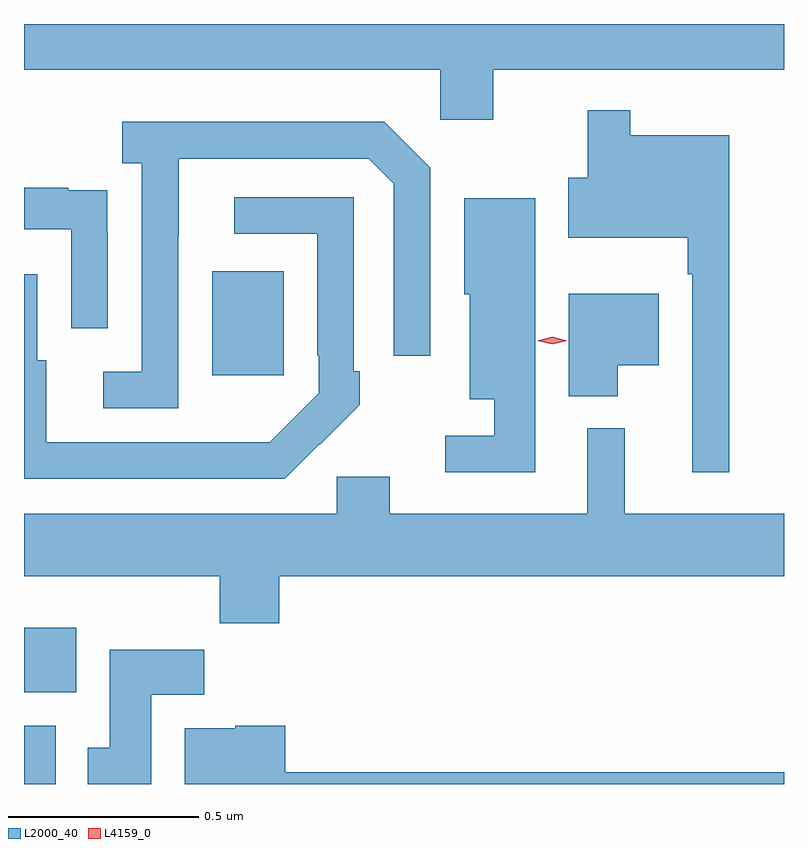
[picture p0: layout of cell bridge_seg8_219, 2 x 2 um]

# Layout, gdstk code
import gdstk
lib = gdstk.Library(unit=1e-6, precision=1e-09)
def R(c, l, rs):  # rectangles x0, y0, x1, y1
    for r in rs: c.add(gdstk.rectangle(r[:2], r[2:], *l))
def P(c, l, *ps):  # polygons
    for p in ps: c.add(gdstk.Polygon(p, *l))
L2000_40 = (2000, 40)
L4159_0 = (4159, 0)

bridge_seg8_219 = lib.new_cell('bridge_seg8_219')
R(bridge_seg8_219, L2000_40, [(138.836,1111.957,138.919,1112.11), (138.836,1112.198,138.973,1112.368), (139.331,1113.033,139.519,1113.307)])
P(bridge_seg8_219, L2000_40, [(140.071,1113.836),(140.836,1113.836),(140.836,1113.957),(138.836,1113.957),(138.836,1113.836),(139.932,1113.836),(139.932,1113.705),(140.071,1113.705)],
  [(140.692,1113.664),(140.431,1113.664),(140.431,1113.73),(140.32,1113.73),(140.32,1113.553),(140.268,1113.553),(140.268,1113.395),(140.583,1113.395),(140.583,1113.299),(140.595,1113.299),(140.595,1112.778),(140.692,1112.778)],
  [(139.242,1113.403),(139.243,1113.403),(139.243,1113.603),(139.743,1113.603),(139.809,1113.537),(139.809,1113.084),(139.905,1113.084),(139.905,1113.579),(139.784,1113.7),(139.095,1113.7),(139.095,1113.59),(139.146,1113.59),(139.146,1113.042),(139.044,1113.042),(139.044,1112.946),(139.242,1112.946)],
  [(139.056,1113.41),(139.055,1113.41),(139.055,1113.519),(138.953,1113.519),(138.953,1113.526),(138.836,1113.526),(138.836,1113.417),(138.96,1113.417),(138.96,1113.156),(139.056,1113.156)],
  [(139.613,1112.851),(139.614,1112.85),(139.719,1112.955),(139.719,1113.043),(139.704,1113.043),(139.704,1113.501),(139.389,1113.501),(139.389,1113.405),(139.608,1113.405),(139.608,1113.085),(139.611,1113.085),(139.611,1112.985),(139.483,1112.857),(139.379,1112.857),(139.379,1112.856),(138.895,1112.856),(138.895,1113.072),(138.871,1113.072),(138.871,1113.298),(138.836,1113.298),(138.836,1112.76),(139.522,1112.76)],
  [(140.181,1113.114),(140.182,1113.114),(140.182,1113.499),(139.994,1113.499),(139.994,1113.246),(140.009,1113.246),(140.009,1112.969),(140.073,1112.969),(140.073,1112.874),(139.944,1112.874),(139.944,1112.778),(140.181,1112.778)],
  [(140.398,1113.059),(140.506,1113.059),(140.506,1113.247),(140.27,1113.247),(140.27,1112.978),(140.398,1112.978)],
  [(139.508,1112.504),(140.836,1112.504),(140.836,1112.668),(140.417,1112.668),(140.417,1112.893),(140.318,1112.893),(140.318,1112.668),(139.798,1112.668),(139.798,1112.766),(139.659,1112.766),(139.659,1112.668),(138.836,1112.668),(138.836,1112.504),(139.351,1112.504),(139.351,1112.38),(139.508,1112.38)],
  [(139.171,1112.192),(139.31,1112.192),(139.31,1112.31),(139.061,1112.31),(139.061,1112.052),(139.004,1112.052),(139.004,1111.957),(139.171,1111.957)],
  [(140.836,1111.988),(139.523,1111.988),(139.523,1112.11),(139.392,1112.11),(139.392,1112.104),(139.259,1112.104),(139.259,1111.957),(140.836,1111.957)])
P(bridge_seg8_219, L4159_0, [(140.226,1113.114),(140.186,1113.124),(140.186,1113.124),(140.186,1113.124),(140.226,1113.134),(140.266,1113.123),(140.266,1113.123),(140.266,1113.123)])

lib.write_gds('bridge_seg8_219.gds')
